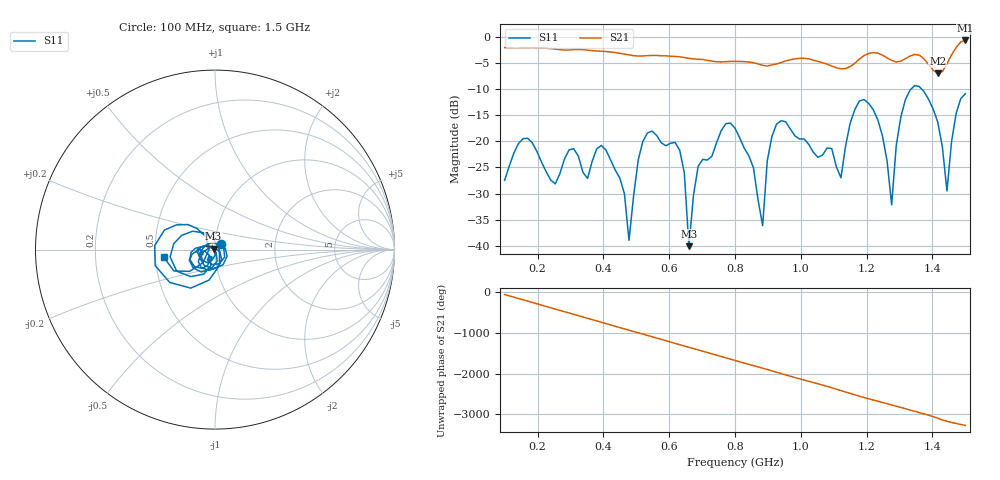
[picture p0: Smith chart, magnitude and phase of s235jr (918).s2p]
! NanoVNA-App
! Date: 2025-09-25 15:11:19
! Start: 100MHz Stop: 1,5GHz Points: 101
! S-Parameter data: F S11 S21 S12 S22
# Hz S RI R 50
!  Frequency  S11_Real  S11_Imag  S21_Real  S21_Imag  S12_Real  S12_Imag  S22_Real  S22_Imag
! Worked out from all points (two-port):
!   101 points, 100 MHz to 1.5 GHz, reference 50 ohm
!   highest |S21| = -0.59 dB at 1.5 GHz (marker M1); lowest = -6.9 dB at 1.416 GHz (marker M2)
!   |S21| within 3 dB of the highest: start of sweep to 598.1 MHz; 1.19 GHz to 1.253 GHz (62.54 MHz wide, 5.12 % of centre) (the widest 2 of 4)
!   lowest |S11| = -40.1 dB at 660 MHz (marker M3), VSWR 1.02, Z = 49.2 + j0.558 ohm
!   |S11| at or under -10 dB: start of sweep to 1.334 GHz; 1.368 GHz to end of sweep
!   S12 and S22 are empty: the file has one direction only
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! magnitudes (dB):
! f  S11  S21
! 100 MHz  -27.5  -2.0
! 156 MHz  -19.5  -2.1
! 338 MHz  -25.9  -2.4
! 408 MHz  -21.7  -2.7
! 478 MHz  -39.0  -3.4
! 520 MHz  -20.0  -3.6
! 576 MHz  -20.2  -3.5
! 632 MHz  -21.7  -3.7
! 660 MHz  -40.1  -4.0
! 688 MHz  -24.8  -4.2
! 800 MHz  -17.4  -4.6
! 884 MHz  -36.2  -5.4
! 926 MHz  -16.7  -5.1
! 1.038 GHz  -22.1  -4.4
! 1.122 GHz  -27.0  -6.0
! 1.192 GHz  -11.9  -3.5
! 1.248 GHz  -18.9  -3.4
! 1.276 GHz  -32.2  -4.4
! 1.332 GHz  -10.1  -3.6
! 1.416 GHz  -16.3  -6.9
! 1.444 GHz  -29.5  -5.1
! 1.5 GHz  -10.8  -0.6
